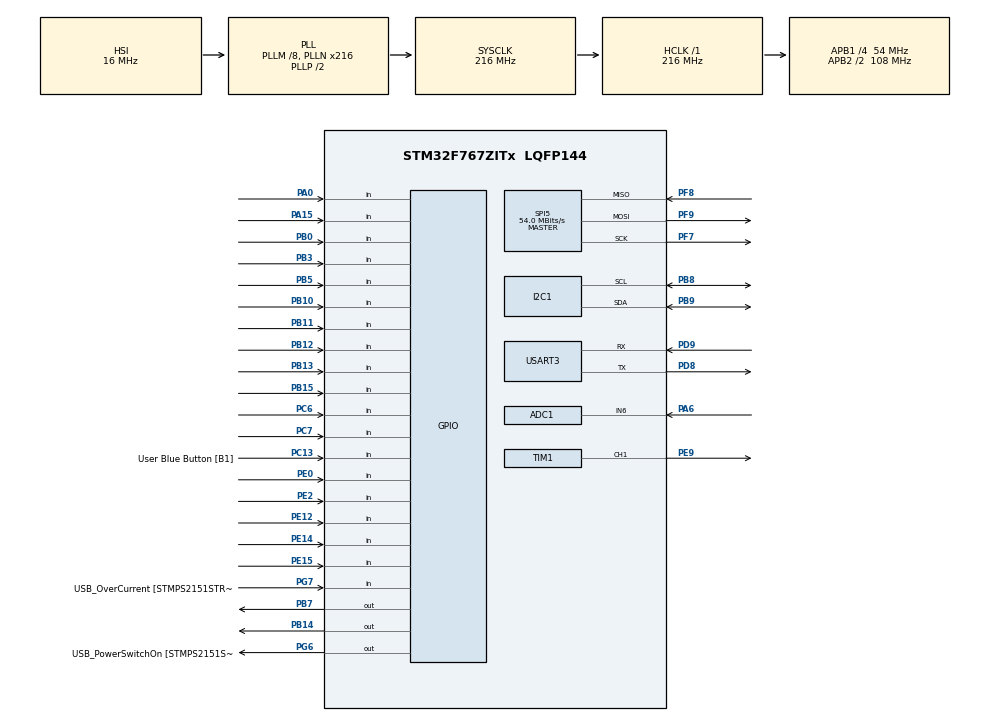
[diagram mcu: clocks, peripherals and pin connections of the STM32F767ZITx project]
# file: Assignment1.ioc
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ADC1.Channel-0\#ChannelRegularConversion=ADC_CHANNEL_6
ADC1.ClockPrescaler=ADC_CLOCK_SYNC_PCLK_DIV4
ADC1.ExternalTrigConv=ADC_EXTERNALTRIGCONV_T2_TRGO
ADC1.NbrOfConversionFlag=1
ADC1.Rank-0\#ChannelRegularConversion=1
ADC1.SamplingTime-0\#ChannelRegularConversion=ADC_SAMPLETIME_3CYCLES
ADC1.master=1
CORTEX_M7.ART_ACCLERATOR_ENABLE=1
CORTEX_M7.CPU_DCache=Enabled
CORTEX_M7.CPU_ICache=Enabled
CORTEX_M7.PREFETCH_ENABLE=1
Dma.ADC1.0.Direction=DMA_PERIPH_TO_MEMORY
Dma.ADC1.0.FIFOMode=DMA_FIFOMODE_ENABLE
Dma.ADC1.0.FIFOThreshold=DMA_FIFO_THRESHOLD_FULL
Dma.ADC1.0.Instance=DMA2_Stream0
Dma.ADC1.0.MemBurst=DMA_MBURST_SINGLE
Dma.ADC1.0.MemDataAlignment=DMA_MDATAALIGN_WORD
Dma.ADC1.0.MemInc=DMA_MINC_ENABLE
Dma.ADC1.0.Mode=DMA_CIRCULAR
Dma.ADC1.0.PeriphBurst=DMA_PBURST_SINGLE
Dma.ADC1.0.PeriphDataAlignment=DMA_PDATAALIGN_WORD
Dma.ADC1.0.PeriphInc=DMA_PINC_DISABLE
Dma.ADC1.0.Priority=DMA_PRIORITY_LOW
Dma.Request0=ADC1
Dma.Request1=TIM1_CH1
Dma.TIM1_CH1.1.Direction=DMA_MEMORY_TO_PERIPH
Dma.TIM1_CH1.1.FIFOMode=DMA_FIFOMODE_DISABLE
Dma.TIM1_CH1.1.Instance=DMA2_Stream1
Dma.TIM1_CH1.1.MemDataAlignment=DMA_MDATAALIGN_HALFWORD
Dma.TIM1_CH1.1.MemInc=DMA_MINC_ENABLE
Dma.TIM1_CH1.1.Mode=DMA_CIRCULAR
Dma.TIM1_CH1.1.PeriphDataAlignment=DMA_PDATAALIGN_HALFWORD
Dma.TIM1_CH1.1.PeriphInc=DMA_PINC_DISABLE
Dma.TIM1_CH1.1.Priority=DMA_PRIORITY_LOW
I2C1.Timing=0x20404768
Mcu.Family=STM32F7
Mcu.Name=STM32F767ZITx
Mcu.Package=LQFP144
NVIC.ADC_IRQn=true\:3\:0\:true\:false\:true\:true\:true
NVIC.DMA2_Stream0_IRQn=true\:0\:0\:false\:false\:true\:false\:true
NVIC.DMA2_Stream1_IRQn=true\:0\:0\:false\:false\:true\:false\:true
NVIC.PriorityGroup=NVIC_PRIORITYGROUP_4
NVIC.TIM3_IRQn=true\:1\:0\:true\:false\:true\:true\:true
PA0/WKUP.Signal=GPIO_Input
PA15.Signal=GPIO_Input
PA6.Signal=ADCx_IN6
PB0.Signal=GPIO_Input
PB10.Signal=GPIO_Input
PB11.Signal=GPIO_Input
PB12.Signal=GPIO_Input
PB13.Signal=GPIO_Input
PB14.Signal=GPIO_Output
PB15.Signal=GPIO_Input
PB3.Signal=GPIO_Input
PB5.Signal=GPIO_Input
PB7.Signal=GPIO_Output
PB8.Mode=I2C
PB8.Signal=I2C1_SCL
PB9.Mode=I2C
PB9.Signal=I2C1_SDA
PC13.GPIO_Label=User Blue Button [B1]
PC13.Signal=GPIO_Input
PC14/OSC32_IN.Mode=LSE-External-Oscillator
PC14/OSC32_IN.Signal=RCC_OSC32_IN
PC15/OSC32_OUT.Mode=LSE-External-Oscillator
PC15/OSC32_OUT.Signal=RCC_OSC32_OUT
PC6.Signal=GPIO_Input
PC7.Signal=GPIO_Input
PD8.Mode=Asynchronous
PD8.Signal=USART3_TX
PD9.Mode=Asynchronous
PD9.Signal=USART3_RX
PE0.Signal=GPIO_Input
PE12.Signal=GPIO_Input
PE14.Signal=GPIO_Input
PE15.Signal=GPIO_Input
PE2.Signal=GPIO_Input
PE9.Signal=S_TIM1_CH1
PF7.Mode=Full_Duplex_Master
PF7.Signal=SPI5_SCK
PF8.Mode=Full_Duplex_Master
PF8.Signal=SPI5_MISO
PF9.Mode=Full_Duplex_Master
PF9.Signal=SPI5_MOSI
PG6.GPIO_Label=USB_PowerSwitchOn [STMPS2151STR_EN]
PG6.Signal=GPIO_Output
PG7.GPIO_Label=USB_OverCurrent [STMPS2151STR_FAULT]
PG7.Signal=GPIO_Input
PH0/OSC_IN.Mode=HSE-External-Clock-Source
PH0/OSC_IN.Signal=RCC_OSC_IN
PH1/OSC_OUT.Mode=HSE-External-Clock-Source
PH1/OSC_OUT.Signal=RCC_OSC_OUT
ProjectManager.HeapSize=0x200
ProjectManager.StackSize=0x400
ProjectManager.TargetToolchain=MDK-ARM V5
RCC.AHBFreq_Value=216000000
RCC.APB1CLKDivider=RCC_HCLK_DIV4
RCC.APB1Freq_Value=54000000
RCC.APB1TimFreq_Value=108000000
RCC.APB2CLKDivider=RCC_HCLK_DIV2
RCC.APB2Freq_Value=108000000
RCC.APB2TimFreq_Value=216000000
RCC.CortexFreq_Value=216000000
RCC.HCLKFreq_Value=216000000
RCC.HSE_VALUE=25000000
RCC.HSI_VALUE=16000000
RCC.PLLM=8
RCC.PLLN=216
RCC.SYSCLKFreq_VALUE=216000000
RCC.SYSCLKSource=RCC_SYSCLKSOURCE_PLLCLK
RCC.USBFreq_Value=216000000
RCC.VCOOutputFreq_Value=432000000
SH.ADCx_IN6.0=ADC1_IN6,IN6
SH.S_TIM1_CH1.0=TIM1_CH1,PWM Generation1 CH1
SPI5.CalculateBaudRate=54.0 MBits/s
SPI5.DataSize=SPI_DATASIZE_8BIT
SPI5.Direction=SPI_DIRECTION_2LINES
SPI5.Mode=SPI_MODE_MASTER
SPI5.NSSPMode=SPI_NSS_PULSE_DISABLE
SPI5.VirtualType=VM_MASTER
TIM1.Channel-PWM\ Generation1\ CH1=TIM_CHANNEL_1
TIM1.Period=90-1
TIM1.Prescaler=3-1
TIM2.Period=10000-1
TIM2.Prescaler=10800-1
TIM2.TIM_MasterOutputTrigger=TIM_TRGO_UPDATE
TIM3.Period=1000-1
TIM3.Prescaler=216-1
USART3.VirtualMode-Asynchronous=VM_ASYNC
VP_RNG_VS_RNG.Mode=RNG_Activate
VP_TIM2_VS_ClockSourceINT.Mode=Internal
VP_TIM3_VS_ClockSourceINT.Mode=Internal
board=custom

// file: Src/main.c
/* USER CODE BEGIN Header */
/**
  ******************************************************************************
  * @file           : main.c
  * @brief          : Main program body
  ******************************************************************************
  * @attention
  *
  * <h2><center>&copy; Copyright (c) 2020 STMicroelectronics.
  * All rights reserved.</center></h2>
  *
  * This software component is licensed by ST under BSD 3-Clause license,
  * the "License"; You may not use this file except in compliance with the
  * License. You may obtain a copy of the License at:
  *                        opensource.org/licenses/BSD-3-Clause
  *
  ******************************************************************************
  */
/* USER CODE END Header */

#include "main.h"
#include "adc.h"
#include "dma.h"
#include "i2c.h"
#include "rng.h"
#include "spi.h"
#include "tim.h"
#include "usart.h"
#include "gpio.h"

/* USER CODE BEGIN Includes */
//#include "ws2812b.h"
#include "stdio.h"
#include "string.h"

/* USER CODE END Includes */

/* USER CODE BEGIN PV */
extern DMA_HandleTypeDef hdma_adc1;
int j;
uint32_t millisec;
int point=0;
int pressed=0;

int color_r, color_g, color_b,r1,g1,b1;

uint32_t countTimePress;
int score=0;
int checkTimeOut=0;

int r=80,g=40,b=70;
uint8_t red,green,blue;
/* USER CODE END PV */

void SystemClock_Config(void);
/* USER CODE BEGIN PFP */
void colorBlindGame(void);
void colorBlindLevel0(void);
void colorBlindLevel1(void);
void colorBlindLevel2(void);

uint8_t randomNumber(uint8_t lower, uint8_t upper);
void randomColor(void);
void setRandomColor(uint8_t index);
void colorsMatching() ;
void checkSW();
void closeLED();
void setCloseLED(uint8_t index);
void displayTime (uint32_t num );
void delay(uint32_t time);

uint16_t Mode1setAllColors();
/* USER CODE END PFP */

int main(void)
{

  /* Enable I-Cache---------------------------------------------------------*/
  SCB_EnableICache();

  /* Enable D-Cache---------------------------------------------------------*/
  SCB_EnableDCache();

  /* MCU Configuration--------------------------------------------------------*/

  /* Reset of all peripherals, Initializes the Flash interface and the Systick. */
  HAL_Init();

  /* Configure the system clock */
  SystemClock_Config();

  /* Initialize all configured peripherals */
  MX_GPIO_Init();
  MX_DMA_Init();
  MX_ADC1_Init();
  MX_TIM1_Init();
  MX_TIM2_Init();
  MX_USART3_UART_Init();
  MX_I2C1_Init();
  MX_RNG_Init();
  MX_SPI5_Init();
  MX_TIM3_Init();
  /* USER CODE BEGIN 2 */
	led_init();
	HAL_TIM_Base_Start(&htim2);
	HAL_ADC_Start_IT(&hadc1);
	HAL_TIM_Base_Start_IT(&htim3);

  /* USER CODE END 2 */

  /* Infinite loop */
  while (1)
  {

    /* USER CODE BEGIN 3 */

		Mode1setAllColors();

		/*colorBlindGame();
			if(pressed==0)
			{
				break;
			}*/
		//colorsMatching();
		/*if(checkTimeOut==1)
			{
				break;
			}*/
		//displayTime(millisec);
		}

	char tmp[500];
	sprintf(tmp, "\n\n\rD E A D\n\rYour score : %d\n\rHigh score : XX", point);
	while(__HAL_UART_GET_FLAG(&huart3, UART_FLAG_TC)==RESET){}
	HAL_UART_Transmit(&huart3, (uint8_t *) tmp, strlen(tmp), 100);

	led_set_color_all(0, 0, 0);

	led_display();
  /* USER CODE END 3 */
}

void SystemClock_Config(void)
{
  RCC_OscInitTypeDef RCC_OscInitStruct = {0};
  RCC_ClkInitTypeDef RCC_ClkInitStruct = {0};
  RCC_PeriphCLKInitTypeDef PeriphClkInitStruct = {0};

  /** Configure LSE Drive Capability
  */
  HAL_PWR_EnableBkUpAccess();
  /** Configure the main internal regulator output voltage
  */
  __HAL_RCC_PWR_CLK_ENABLE();
  __HAL_PWR_VOLTAGESCALING_CONFIG(PWR_REGULATOR_VOLTAGE_SCALE1);
  /** Initializes the CPU, AHB and APB busses clocks
  */
  RCC_OscInitStruct.OscillatorType = RCC_OSCILLATORTYPE_HSI;
  RCC_OscInitStruct.HSIState = RCC_HSI_ON;
  RCC_OscInitStruct.HSICalibrationValue = RCC_HSICALIBRATION_DEFAULT;
  RCC_OscInitStruct.PLL.PLLState = RCC_PLL_ON;
  RCC_OscInitStruct.PLL.PLLSource = RCC_PLLSOURCE_HSI;
  RCC_OscInitStruct.PLL.PLLM = 8;
  RCC_OscInitStruct.PLL.PLLN = 216;
  RCC_OscInitStruct.PLL.PLLP = RCC_PLLP_DIV2;
  RCC_OscInitStruct.PLL.PLLQ = 2;
  if (HAL_RCC_OscConfig(&RCC_OscInitStruct) != HAL_OK)
  {
    Error_Handler();
  }
  /** Activate the Over-Drive mode
  */
  if (HAL_PWREx_EnableOverDrive() != HAL_OK)
  {
    Error_Handler();
  }
  /** Initializes the CPU, AHB and APB busses clocks
  */
  RCC_ClkInitStruct.ClockType = RCC_CLOCKTYPE_HCLK|RCC_CLOCKTYPE_SYSCLK
                              |RCC_CLOCKTYPE_PCLK1|RCC_CLOCKTYPE_PCLK2;
  RCC_ClkInitStruct.SYSCLKSource = RCC_SYSCLKSOURCE_PLLCLK;
  RCC_ClkInitStruct.AHBCLKDivider = RCC_SYSCLK_DIV1;
  RCC_ClkInitStruct.APB1CLKDivider = RCC_HCLK_DIV4;
  RCC_ClkInitStruct.APB2CLKDivider = RCC_HCLK_DIV2;

  if (HAL_RCC_ClockConfig(&RCC_ClkInitStruct, FLASH_LATENCY_7) != HAL_OK)
  {
    Error_Handler();
  }
  PeriphClkInitStruct.PeriphClockSelection = RCC_PERIPHCLK_USART3|RCC_PERIPHCLK_I2C1
                              |RCC_PERIPHCLK_CLK48;
  PeriphClkInitStruct.Usart3ClockSelection = RCC_USART3CLKSOURCE_PCLK1;
  PeriphClkInitStruct.I2c1ClockSelection = RCC_I2C1CLKSOURCE_PCLK1;
  PeriphClkInitStruct.Clk48ClockSelection = RCC_CLK48SOURCE_PLL;
  if (HAL_RCCEx_PeriphCLKConfig(&PeriphClkInitStruct) != HAL_OK)
  {
    Error_Handler();
  }
}

/* USER CODE BEGIN 4 */
void colorBlindLevel0(void) {
	uint16_t i;
	color_r = (HAL_RNG_GetRandomNumber(&hrng))%256;
	color_g = (HAL_RNG_GetRandomNumber(&hrng))%256;
	color_b = (HAL_RNG_GetRandomNumber(&hrng))%256;

	led_set_color(5,color_r, color_g, color_b);
	led_set_color(6,color_r, color_g, color_b);
	led_set_color(9,color_r, color_g, color_b);
	led_set_color(10,color_r, color_g, color_b);
		//if (flag_stop) break;

	j = (HAL_RNG_GetRandomNumber(&hrng))%4;
	if(j==0) j=5;
	else if(j==1) j=6;
	else if(j==2) j=9;
	else if(j==3) j=10;

	r1 = (HAL_RNG_GetRandomNumber(&hrng))%256;
	g1 = (HAL_RNG_GetRandomNumber(&hrng))%256;
	b1 = (HAL_RNG_GetRandomNumber(&hrng))%256;

	while((r1==color_r) && (g1==color_g) && (b1==color_b))
	{
		r1 = (HAL_RNG_GetRandomNumber(&hrng))%256;
		g1 = (HAL_RNG_GetRandomNumber(&hrng))%256;
		b1 = (HAL_RNG_GetRandomNumber(&hrng))%256;
	}
	led_set_color(j, r1, g1, b1);
	led_display();
}

void colorBlindLevel1(void) {
	uint16_t i;
	color_r = (HAL_RNG_GetRandomNumber(&hrng))%256;
	color_g = (HAL_RNG_GetRandomNumber(&hrng))%256;
	color_b = (HAL_RNG_GetRandomNumber(&hrng))%256;

	led_set_color_all(color_r, color_g, color_b);
		//if (flag_stop) break;

	j = (HAL_RNG_GetRandomNumber(&hrng))%16;

	r1 = (HAL_RNG_GetRandomNumber(&hrng))%256;
	g1 = (HAL_RNG_GetRandomNumber(&hrng))%256;
	b1 = (HAL_RNG_GetRandomNumber(&hrng))%256;

	while((r1==color_r) && (g1==color_g) && (b1==color_b))
	{
		r1 = (HAL_RNG_GetRandomNumber(&hrng))%256;
		g1 = (HAL_RNG_GetRandomNumber(&hrng))%256;
		b1 = (HAL_RNG_GetRandomNumber(&hrng))%256;
	}
	led_set_color(j, r1, g1, b1);
	led_display();
}

void colorBlindLevel2(void)
{
	uint16_t i;
	color_r = (HAL_RNG_GetRandomNumber(&hrng))%256;
	color_g = (HAL_RNG_GetRandomNumber(&hrng))%256;
	color_b = (HAL_RNG_GetRandomNumber(&hrng))%256;

	led_set_color_all(color_r, color_g, color_b);
		//wsled.led_set_color(i, 1, 23, 12);
		//if (flag_stop) break;

	int rand=(HAL_RNG_GetRandomNumber(&hrng))%2;
	if(rand==0)
	{
		r1=(color_r+40);
		if(r1>255) r1=255;
	}
	else
	{
		r1=(color_r-40);
		if(r1<0) r1=0;
	}
	rand=(HAL_RNG_GetRandomNumber(&hrng))%2;
	if(rand==0)
	{
		g1=(color_g+40);
		if(g1>255) g1=255;
	}
	else
	{
		g1=(color_g-40);
		if(g1<0) g1=0;
	}
	rand=(HAL_RNG_GetRandomNumber(&hrng))%2;
	if(rand==0)
	{
		b1=(color_b+40);
		if(b1>255) b1=255;
	}
	else
	{
		b1=(color_b-40);
		if(b1<0) b1=0;
	}

	j = (HAL_RNG_GetRandomNumber(&hrng))%16;

	led_set_color(j, r1, g1, b1);
	//led_set_color(i, 91, 113, 102);
	led_display();
}

void colorBlindGame(void)
{
	/*for(uint8_t i=0;i<10;i++)
	{
		randomColor();
	}*/

	pressed=0;
	if(point<=4) colorBlindLevel0();
	else if(point<8) colorBlindLevel1();
	else colorBlindLevel2();

	char temp[100];
	sprintf(temp, "\n\n\rr = %d, g = %d, b = %d\n\rr1 = %d, g1 = %d, b1 = %d\n\rj = %d", color_r,color_g,color_b,r1,g1,b1,j);
	while(__HAL_UART_GET_FLAG(&huart3, UART_FLAG_TC)==RESET){}
	HAL_UART_Transmit(&huart3, (uint8_t *) temp, strlen(temp), 100);

	millisec=0;
	while(millisec<10000)
	{
		if(j==0)
		{
			if(HAL_GPIO_ReadPin(GPIOB,GPIO_PIN_3)==1)
			{
				point++;
				pressed=1;
				/*char tmp[100];
				sprintf(tmp, "\n\rpoint = %d", point);
				while(__HAL_UART_GET_FLAG(&huart3, UART_FLAG_TC)==RESET){}
				HAL_UART_Transmit(&huart3, (uint8_t *) tmp, strlen(tmp), 100);
				HAL_Delay(100);*/

				break;
			}
			else if(
			HAL_GPIO_ReadPin(GPIOB,GPIO_PIN_5)==1 ||
			HAL_GPIO_ReadPin(GPIOC,GPIO_PIN_7)==1 ||
			HAL_GPIO_ReadPin(GPIOA,GPIO_PIN_15)==1 ||
			HAL_GPIO_ReadPin(GPIOB,GPIO_PIN_12)==1 ||
			HAL_GPIO_ReadPin(GPIOB,GPIO_PIN_13)==1 ||
			HAL_GPIO_ReadPin(GPIOB,GPIO_PIN_15)==1 ||
			HAL_GPIO_ReadPin(GPIOC,GPIO_PIN_6)==1 ||
			HAL_GPIO_ReadPin(GPIOB,GPIO_PIN_11)==1 ||
			HAL_GPIO_ReadPin(GPIOB,GPIO_PIN_10)==1 ||
			HAL_GPIO_ReadPin(GPIOE,GPIO_PIN_15)==1 ||
			HAL_GPIO_ReadPin(GPIOE,GPIO_PIN_14)==1 ||
			HAL_GPIO_ReadPin(GPIOE,GPIO_PIN_0)==1 ||
			HAL_GPIO_ReadPin(GPIOB,GPIO_PIN_0)==1 ||
			HAL_GPIO_ReadPin(GPIOA,GPIO_PIN_0)==1 ||
			HAL_GPIO_ReadPin(GPIOE,GPIO_PIN_2)==1)
			{
				millisec+=2000;
				HAL_Delay(300);
			}
		}
		else if(j==1)
		{
			if(HAL_GPIO_ReadPin(GPIOB,GPIO_PIN_5)==1)
			{
				point++;
				pressed=1;
				/*char tmp[100];
				sprintf(tmp, "\n\rpoint = %d", point);
				while(__HAL_UART_GET_FLAG(&huart3, UART_FLAG_TC)==RESET){}
				HAL_UART_Transmit(&huart3, (uint8_t *) tmp, strlen(tmp), 100);
				HAL_Delay(200);*/

				break;
			}
			else if(
			HAL_GPIO_ReadPin(GPIOB,GPIO_PIN_3)==1 ||
			HAL_GPIO_ReadPin(GPIOC,GPIO_PIN_7)==1 ||
			HAL_GPIO_ReadPin(GPIOA,GPIO_PIN_15)==1 ||
			HAL_GPIO_ReadPin(GPIOB,GPIO_PIN_12)==1 ||
			HAL_GPIO_ReadPin(GPIOB,GPIO_PIN_13)==1 ||
			HAL_GPIO_ReadPin(GPIOB,GPIO_PIN_15)==1 ||
			HAL_GPIO_ReadPin(GPIOC,GPIO_PIN_6)==1 ||
			HAL_GPIO_ReadPin(GPIOB,GPIO_PIN_11)==1 ||
			HAL_GPIO_ReadPin(GPIOB,GPIO_PIN_10)==1 ||
			HAL_GPIO_ReadPin(GPIOE,GPIO_PIN_15)==1 ||
			HAL_GPIO_ReadPin(GPIOE,GPIO_PIN_14)==1 ||
			HAL_GPIO_ReadPin(GPIOE,GPIO_PIN_0)==1 ||
			HAL_GPIO_ReadPin(GPIOB,GPIO_PIN_0)==1 ||
			HAL_GPIO_ReadPin(GPIOA,GPIO_PIN_0)==1 ||
			HAL_GPIO_ReadPin(GPIOE,GPIO_PIN_2)==1)
			{
				millisec+=2000;
				HAL_Delay(300);
			}
		}
		else if(j==2)
		{
			if(HAL_GPIO_ReadPin(GPIOC,GPIO_PIN_7)==1)
			{
				point++;
				pressed=1;
				/*char tmp[100];
				sprintf(tmp, "\n\rpoint = %d", point);
				while(__HAL_UART_GET_FLAG(&huart3, UART_FLAG_TC)==RESET){}
				HAL_UART_Transmit(&huart3, (uint8_t *) tmp, strlen(tmp), 100);
				HAL_Delay(200);*/

				break;
			}
			else if(
			HAL_GPIO_ReadPin(GPIOB,GPIO_PIN_3)==1 ||
			HAL_GPIO_ReadPin(GPIOB,GPIO_PIN_5)==1 ||
			HAL_GPIO_ReadPin(GPIOA,GPIO_PIN_15)==1 ||
			HAL_GPIO_ReadPin(GPIOB,GPIO_PIN_12)==1 ||
			HAL_GPIO_ReadPin(GPIOB,GPIO_PIN_13)==1 ||
			HAL_GPIO_ReadPin(GPIOB,GPIO_PIN_15)==1 ||
			HAL_GPIO_ReadPin(GPIOC,GPIO_PIN_6)==1 ||
			HAL_GPIO_ReadPin(GPIOB,GPIO_PIN_11)==1 ||
			HAL_GPIO_ReadPin(GPIOB,GPIO_PIN_10)==1 ||
			HAL_GPIO_ReadPin(GPIOE,GPIO_PIN_15)==1 ||
			HAL_GPIO_ReadPin(GPIOE,GPIO_PIN_14)==1 ||
			HAL_GPIO_ReadPin(GPIOE,GPIO_PIN_0)==1 ||
			HAL_GPIO_ReadPin(GPIOB,GPIO_PIN_0)==1 ||
			HAL_GPIO_ReadPin(GPIOA,GPIO_PIN_0)==1 ||
			HAL_GPIO_ReadPin(GPIOE,GPIO_PIN_2)==1)
			{
				millisec+=2000;
				HAL_Delay(300);
			}
		}
		else if(j==3)
		{
			if(HAL_GPIO_ReadPin(GPIOA,GPIO_PIN_15)==1)
			{
				point++;
				pressed=1;
				/*char tmp[100];
				sprintf(tmp, "\n\rpoint = %d", point);
				while(__HAL_UART_GET_FLAG(&huart3, UART_FLAG_TC)==RESET){}
				HAL_UART_Transmit(&huart3, (uint8_t *) tmp, strlen(tmp), 100);
				HAL_Delay(200);*/

				break;
			}
			else if(
			HAL_GPIO_ReadPin(GPIOB,GPIO_PIN_3)==1 ||
			HAL_GPIO_ReadPin(GPIOB,GPIO_PIN_5)==1 ||
			HAL_GPIO_ReadPin(GPIOC,GPIO_PIN_7)==1 ||
			HAL_GPIO_ReadPin(GPIOB,GPIO_PIN_12)==1 ||
			HAL_GPIO_ReadPin(GPIOB,GPIO_PIN_13)==1 ||
			HAL_GPIO_ReadPin(GPIOB,GPIO_PIN_15)==1 ||
			HAL_GPIO_ReadPin(GPIOC,GPIO_PIN_6)==1 ||
			HAL_GPIO_ReadPin(GPIOB,GPIO_PIN_11)==1 ||
			HAL_GPIO_ReadPin(GPIOB,GPIO_PIN_10)==1 ||
			HAL_GPIO_ReadPin(GPIOE,GPIO_PIN_15)==1 ||
			HAL_GPIO_ReadPin(GPIOE,GPIO_PIN_14)==1 ||
			HAL_GPIO_ReadPin(GPIOE,GPIO_PIN_0)==1 ||
			HAL_GPIO_ReadPin(GPIOB,GPIO_PIN_0)==1 ||
			HAL_GPIO_ReadPin(GPIOA,GPIO_PIN_0)==1 ||
			HAL_GPIO_ReadPin(GPIOE,GPIO_PIN_2)==1)
			{
				millisec+=2000;
				HAL_Delay(300);
			}
		}
		else if(j==4)
		{
			if(HAL_GPIO_ReadPin(GPIOB,GPIO_PIN_12)==1)
			{
				point++;
				pressed=1;

				/*char tmp[100];
				sprintf(tmp, "\n\rpoint = %d", point);
				while(__HAL_UART_GET_FLAG(&huart3, UART_FLAG_TC)==RESET){}
				HAL_UART_Transmit(&huart3, (uint8_t *) tmp, strlen(tmp), 100);
				HAL_Delay(200);*/

				break;
			}
			else if(
			HAL_GPIO_ReadPin(GPIOB,GPIO_PIN_3)==1 ||
			HAL_GPIO_ReadPin(GPIOB,GPIO_PIN_5)==1 ||
			HAL_GPIO_ReadPin(GPIOC,GPIO_PIN_7)==1 ||
			HAL_GPIO_ReadPin(GPIOA,GPIO_PIN_15)==1 ||
			HAL_GPIO_ReadPin(GPIOB,GPIO_PIN_12)==1 ||
			HAL_GPIO_ReadPin(GPIOB,GPIO_PIN_13)==1 ||
			HAL_GPIO_ReadPin(GPIOB,GPIO_PIN_15)==1 ||
			HAL_GPIO_ReadPin(GPIOC,GPIO_PIN_6)==1 ||
			HAL_GPIO_ReadPin(GPIOB,GPIO_PIN_11)==1 ||
			HAL_GPIO_ReadPin(GPIOB,GPIO_PIN_10)==1 ||
			HAL_GPIO_ReadPin(GPIOE,GPIO_PIN_15)==1 ||
			HAL_GPIO_ReadPin(GPIOE,GPIO_PIN_14)==1 ||
			HAL_GPIO_ReadPin(GPIOE,GPIO_PIN_0)==1 ||
			HAL_GPIO_ReadPin(GPIOB,GPIO_PIN_0)==1 ||
			HAL_GPIO_ReadPin(GPIOA,GPIO_PIN_0)==1 ||
			HAL_GPIO_ReadPin(GPIOE,GPIO_PIN_2)==1)
			{
				millisec+=2000;
				HAL_Delay(300);
			}
		}
		else if(j==5)
		{
			if(HAL_GPIO_ReadPin(GPIOB,GPIO_PIN_13)==1)
			{
				point++;
				pressed=1;

				/*char tmp[100];
				sprintf(tmp, "\n\rpoint = %d", point);
				while(__HAL_UART_GET_FLAG(&huart3, UART_FLAG_TC)==RESET){}
				HAL_UART_Transmit(&huart3, (uint8_t *) tmp, strlen(tmp), 100);
				HAL_Delay(200);*/

				break;
			}
			else if(
			HAL_GPIO_ReadPin(GPIOB,GPIO_PIN_3)==1 ||
			HAL_GPIO_ReadPin(GPIOB,GPIO_PIN_5)==1 ||
			HAL_GPIO_ReadPin(GPIOC,GPIO_PIN_7)==1 ||
			HAL_GPIO_ReadPin(GPIOA,GPIO_PIN_15)==1 ||
			HAL_GPIO_ReadPin(GPIOB,GPIO_PIN_12)==1 ||
			HAL_GPIO_ReadPin(GPIOB,GPIO_PIN_15)==1 ||
			HAL_GPIO_ReadPin(GPIOC,GPIO_PIN_6)==1 ||
			HAL_GPIO_ReadPin(GPIOB,GPIO_PIN_11)==1 ||
			HAL_GPIO_ReadPin(GPIOB,GPIO_PIN_10)==1 ||
			HAL_GPIO_ReadPin(GPIOE,GPIO_PIN_15)==1 ||
			HAL_GPIO_ReadPin(GPIOE,GPIO_PIN_14)==1 ||
			HAL_GPIO_ReadPin(GPIOE,GPIO_PIN_0)==1 ||
			HAL_GPIO_ReadPin(GPIOB,GPIO_PIN_0)==1 ||
			HAL_GPIO_ReadPin(GPIOA,GPIO_PIN_0)==1 ||
			HAL_GPIO_ReadPin(GPIOE,GPIO_PIN_2)==1)
			{
				millisec+=2000;
				HAL_Delay(300);
			}
		}
		else if(j==6)
		{
			if(HAL_GPIO_ReadPin(GPIOB,GPIO_PIN_15)==1)
			{
				point++;
				pressed=1;

				/*char tmp[100];
				sprintf(tmp, "\n\rpoint = %d", point);
				while(__HAL_UART_GET_FLAG(&huart3, UART_FLAG_TC)==RESET){}
				HAL_UART_Transmit(&huart3, (uint8_t *) tmp, strlen(tmp), 100);
				HAL_Delay(200);*/

				break;
			}
			else if(
			HAL_GPIO_ReadPin(GPIOB,GPIO_PIN_3)==1 ||
			HAL_GPIO_ReadPin(GPIOB,GPIO_PIN_5)==1 ||
			HAL_GPIO_ReadPin(GPIOC,GPIO_PIN_7)==1 ||
			HAL_GPIO_ReadPin(GPIOA,GPIO_PIN_15)==1 ||
			HAL_GPIO_ReadPin(GPIOB,GPIO_PIN_12)==1 ||
			HAL_GPIO_ReadPin(GPIOB,GPIO_PIN_13)==1 ||
			HAL_GPIO_ReadPin(GPIOC,GPIO_PIN_6)==1 ||
			HAL_GPIO_ReadPin(GPIOB,GPIO_PIN_11)==1 ||
			HAL_GPIO_ReadPin(GPIOB,GPIO_PIN_10)==1 ||
			HAL_GPIO_ReadPin(GPIOE,GPIO_PIN_15)==1 ||
			HAL_GPIO_ReadPin(GPIOE,GPIO_PIN_14)==1 ||
			HAL_GPIO_ReadPin(GPIOE,GPIO_PIN_0)==1 ||
			HAL_GPIO_ReadPin(GPIOB,GPIO_PIN_0)==1 ||
			HAL_GPIO_ReadPin(GPIOA,GPIO_PIN_0)==1 ||
			HAL_GPIO_ReadPin(GPIOE,GPIO_PIN_2)==1)
			{
				millisec+=2000;
				HAL_Delay(300);
			}
		}
		else if(j==7)
		{
			if(HAL_GPIO_ReadPin(GPIOC,GPIO_PIN_6)==1)
			{
				point++;
				pressed=1;

				/*char tmp[100];
				sprintf(tmp, "\n\rpoint = %d", point);
				while(__HAL_UART_GET_FLAG(&huart3, UART_FLAG_TC)==RESET){}
				HAL_UART_Transmit(&huart3, (uint8_t *) tmp, strlen(tmp), 100);
				HAL_Delay(200);*/

				break;
			}
			else if(
			HAL_GPIO_ReadPin(GPIOB,GPIO_PIN_3)==1 ||
			HAL_GPIO_ReadPin(GPIOB,GPIO_PIN_5)==1 ||
			HAL_GPIO_ReadPin(GPIOC,GPIO_PIN_7)==1 ||
			HAL_GPIO_ReadPin(GPIOA,GPIO_PIN_15)==1 ||
			HAL_GPIO_ReadPin(GPIOB,GPIO_PIN_12)==1 ||
			HAL_GPIO_ReadPin(GPIOB,GPIO_PIN_13)==1 ||
			HAL_GPIO_ReadPin(GPIOB,GPIO_PIN_15)==1 ||
			HAL_GPIO_ReadPin(GPIOB,GPIO_PIN_11)==1 ||
			HAL_GPIO_ReadPin(GPIOB,GPIO_PIN_10)==1 ||
			HAL_GPIO_ReadPin(GPIOE,GPIO_PIN_15)==1 ||
			HAL_GPIO_ReadPin(GPIOE,GPIO_PIN_14)==1 ||
			HAL_GPIO_ReadPin(GPIOE,GPIO_PIN_0)==1 ||
			HAL_GPIO_ReadPin(GPIOB,GPIO_PIN_0)==1 ||
			HAL_GPIO_ReadPin(GPIOA,GPIO_PIN_0)==1 ||
			HAL_GPIO_ReadPin(GPIOE,GPIO_PIN_2)==1)
			{
				millisec+=2000;
				HAL_Delay(300);
			}
		}
		else if(j==8)
		{
			if(HAL_GPIO_ReadPin(GPIOB,GPIO_PIN_11)==1)
			{
				point++;
				pressed=1;
				/*char tmp[100];
				sprintf(tmp, "\n\rpoint = %d", point);
				while(__HAL_UART_GET_FLAG(&huart3, UART_FLAG_TC)==RESET){}
				HAL_UART_Transmit(&huart3, (uint8_t *) tmp, strlen(tmp), 100);
				HAL_Delay(200);*/

				break;
			}
			else if(
			HAL_GPIO_ReadPin(GPIOB,GPIO_PIN_3)==1 ||
			HAL_GPIO_ReadPin(GPIOB,GPIO_PIN_5)==1 ||
			HAL_GPIO_ReadPin(GPIOC,GPIO_PIN_7)==1 ||
			HAL_GPIO_ReadPin(GPIOA,GPIO_PIN_15)==1 ||
			HAL_GPIO_ReadPin(GPIOB,GPIO_PIN_12)==1 ||
			HAL_GPIO_ReadPin(GPIOB,GPIO_PIN_13)==1 ||
			HAL_GPIO_ReadPin(GPIOB,GPIO_PIN_15)==1 ||
			HAL_GPIO_ReadPin(GPIOC,GPIO_PIN_6)==1 ||
			HAL_GPIO_ReadPin(GPIOB,GPIO_PIN_10)==1 ||
			HAL_GPIO_ReadPin(GPIOE,GPIO_PIN_15)==1 ||
			HAL_GPIO_ReadPin(GPIOE,GPIO_PIN_14)==1 ||
			HAL_GPIO_ReadPin(GPIOE,GPIO_PIN_0)==1 ||
			HAL_GPIO_ReadPin(GPIOB,GPIO_PIN_0)==1 ||
			HAL_GPIO_ReadPin(GPIOA,GPIO_PIN_0)==1 ||
			HAL_GPIO_ReadPin(GPIOE,GPIO_PIN_2)==1)
			{
				millisec+=2000;
				HAL_Delay(300);
			}
		}
		else if(j==9)
		{
			if(HAL_GPIO_ReadPin(GPIOB,GPIO_PIN_10)==1)
			{
				point++;
				pressed=1;
				/*char tmp[100];
				sprintf(tmp, "\n\rpoint = %d", point);
				while(__HAL_UART_GET_FLAG(&huart3, UART_FLAG_TC)==RESET){}
				HAL_UART_Transmit(&huart3, (uint8_t *) tmp, strlen(tmp), 100);
				HAL_Delay(200);*/

				break;
			}
			else if(
			HAL_GPIO_ReadPin(GPIOB,GPIO_PIN_3)==1 ||
			HAL_GPIO_ReadPin(GPIOB,GPIO_PIN_5)==1 ||
			HAL_GPIO_ReadPin(GPIOC,GPIO_PIN_7)==1 ||
			HAL_GPIO_ReadPin(GPIOA,GPIO_PIN_15)==1 ||
			HAL_GPIO_ReadPin(GPIOB,GPIO_PIN_12)==1 ||
			HAL_GPIO_ReadPin(GPIOB,GPIO_PIN_13)==1 ||
			HAL_GPIO_ReadPin(GPIOB,GPIO_PIN_15)==1 ||
			HAL_GPIO_ReadPin(GPIOC,GPIO_PIN_6)==1 ||
			HAL_GPIO_ReadPin(GPIOB,GPIO_PIN_11)==1 ||
			HAL_GPIO_ReadPin(GPIOE,GPIO_PIN_15)==1 ||
			HAL_GPIO_ReadPin(GPIOE,GPIO_PIN_14)==1 ||
			HAL_GPIO_ReadPin(GPIOE,GPIO_PIN_0)==1 ||
			HAL_GPIO_ReadPin(GPIOB,GPIO_PIN_0)==1 ||
			HAL_GPIO_ReadPin(GPIOA,GPIO_PIN_0)==1 ||
			HAL_GPIO_ReadPin(GPIOE,GPIO_PIN_2)==1)
			{
				millisec+=2000;
				HAL_Delay(300);
			}
		}
		else if(j==10)
		{
			if(HAL_GPIO_ReadPin(GPIOE,GPIO_PIN_15)==1)
			{
				point++;
				pressed=1;
				/*char tmp[100];
				sprintf(tmp, "\n\rpoint = %d", point);
				while(__HAL_UART_GET_FLAG(&huart3, UART_FLAG_TC)==RESET){}
				HAL_UART_Transmit(&huart3, (uint8_t *) tmp, strlen(tmp), 100);
				HAL_Delay(200);*/

				break;
			}
			else if(
			HAL_GPIO_ReadPin(GPIOB,GPIO_PIN_3)==1 ||
			HAL_GPIO_ReadPin(GPIOB,GPIO_PIN_5)==1 ||
			HAL_GPIO_ReadPin(GPIOC,GPIO_PIN_7)==1 ||
			HAL_GPIO_ReadPin(GPIOA,GPIO_PIN_15)==1 ||
			HAL_GPIO_ReadPin(GPIOB,GPIO_PIN_12)==1 ||
			HAL_GPIO_ReadPin(GPIOB,GPIO_PIN_13)==1 ||
			HAL_GPIO_ReadPin(GPIOB,GPIO_PIN_15)==1 ||
			HAL_GPIO_ReadPin(GPIOC,GPIO_PIN_6)==1 ||
			HAL_GPIO_ReadPin(GPIOB,GPIO_PIN_11)==1 ||
			HAL_GPIO_ReadPin(GPIOB,GPIO_PIN_10)==1 ||
			HAL_GPIO_ReadPin(GPIOE,GPIO_PIN_14)==1 ||
			HAL_GPIO_ReadPin(GPIOE,GPIO_PIN_0)==1 ||
			HAL_GPIO_ReadPin(GPIOB,GPIO_PIN_0)==1 ||
			HAL_GPIO_ReadPin(GPIOA,GPIO_PIN_0)==1 ||
			HAL_GPIO_ReadPin(GPIOE,GPIO_PIN_2)==1)
			{
				millisec+=2000;
				HAL_Delay(300);
			}
		}
		else if(j==11)
		{
			if(HAL_GPIO_ReadPin(GPIOE,GPIO_PIN_14)==1)
			{
				point++;
				pressed=1;
				/*char tmp[100];
				sprintf(tmp, "\n\rpoint = %d", point);
				while(__HAL_UART_GET_FLAG(&huart3, UART_FLAG_TC)==RESET){}
				HAL_UART_Transmit(&huart3, (uint8_t *) tmp, strlen(tmp), 100);
				HAL_Delay(200);*/

				break;
			}
			else if(
			HAL_GPIO_ReadPin(GPIOB,GPIO_PIN_3)==1 ||
			HAL_GPIO_ReadPin(GPIOB,GPIO_PIN_5)==1 ||
			HAL_GPIO_ReadPin(GPIOC,GPIO_PIN_7)==1 ||
			HAL_GPIO_ReadPin(GPIOA,GPIO_PIN_15)==1 ||
			HAL_GPIO_ReadPin(GPIOB,GPIO_PIN_12)==1 ||
			HAL_GPIO_ReadPin(GPIOB,GPIO_PIN_13)==1 ||
			HAL_GPIO_ReadPin(GPIOB,GPIO_PIN_15)==1 ||
			HAL_GPIO_ReadPin(GPIOC,GPIO_PIN_6)==1 ||
			HAL_GPIO_ReadPin(GPIOB,GPIO_PIN_11)==1 ||
			HAL_GPIO_ReadPin(GPIOB,GPIO_PIN_10)==1 ||
			HAL_GPIO_ReadPin(GPIOE,GPIO_PIN_15)==1 ||
			HAL_GPIO_ReadPin(GPIOE,GPIO_PIN_0)==1 ||
			HAL_GPIO_ReadPin(GPIOB,GPIO_PIN_0)==1 ||
			HAL_GPIO_ReadPin(GPIOA,GPIO_PIN_0)==1 ||
			HAL_GPIO_ReadPin(GPIOE,GPIO_PIN_2)==1)
			{
				millisec+=2000;
				HAL_Delay(300);
			}
		}
		else if(j==12)
		{
			if(HAL_GPIO_ReadPin(GPIOE,GPIO_PIN_0)==1)
			{
				point++;
				pressed=1;
				/*char tmp[100];
				sprintf(tmp, "\n\rpoint = %d", point);
				while(__HAL_UART_GET_FLAG(&huart3, UART_FLAG_TC)==RESET){}
				HAL_UART_Transmit(&huart3, (uint8_t *) tmp, strlen(tmp), 100);
				HAL_Delay(200);*/

				break;
			}
			else if(
			HAL_GPIO_ReadPin(GPIOB,GPIO_PIN_3)==1 ||
			HAL_GPIO_ReadPin(GPIOB,GPIO_PIN_5)==1 ||
			HAL_GPIO_ReadPin(GPIOC,GPIO_PIN_7)==1 ||
			HAL_GPIO_ReadPin(GPIOA,GPIO_PIN_15)==1 ||
			HAL_GPIO_ReadPin(GPIOB,GPIO_PIN_12)==1 ||
			HAL_GPIO_ReadPin(GPIOB,GPIO_PIN_13)==1 ||
			HAL_GPIO_ReadPin(GPIOB,GPIO_PIN_15)==1 ||
			HAL_GPIO_ReadPin(GPIOC,GPIO_PIN_6)==1 ||
			HAL_GPIO_ReadPin(GPIOB,GPIO_PIN_11)==1 ||
			HAL_GPIO_ReadPin(GPIOB,GPIO_PIN_10)==1 ||
			HAL_GPIO_ReadPin(GPIOE,GPIO_PIN_15)==1 ||
			HAL_GPIO_ReadPin(GPIOE,GPIO_PIN_14)==1 ||
			HAL_GPIO_ReadPin(GPIOB,GPIO_PIN_0)==1 ||
			HAL_GPIO_ReadPin(GPIOA,GPIO_PIN_0)==1 ||
			HAL_GPIO_ReadPin(GPIOE,GPIO_PIN_2)==1)
			{
				millisec+=2000;
				HAL_Delay(300);
			}
		}
		else if(j==13)
		{
			if(HAL_GPIO_ReadPin(GPIOB,GPIO_PIN_0)==1)
			{
				point++;
				pressed=1;
				/*char tmp[100];
				sprintf(tmp, "\n\rpoint = %d", point);
				while(__HAL_UART_GET_FLAG(&huart3, UART_FLAG_TC)==RESET){}
				HAL_UART_Transmit(&huart3, (uint8_t *) tmp, strlen(tmp), 100);
				HAL_Delay(200);*/

				break;
			}
			else if(
			HAL_GPIO_ReadPin(GPIOB,GPIO_PIN_3)==1 ||
			HAL_GPIO_ReadPin(GPIOB,GPIO_PIN_5)==1 ||
			HAL_GPIO_ReadPin(GPIOC,GPIO_PIN_7)==1 ||
			HAL_GPIO_ReadPin(GPIOA,GPIO_PIN_15)==1 ||
			HAL_GPIO_ReadPin(GPIOB,GPIO_PIN_12)==1 ||
			HAL_GPIO_ReadPin(GPIOB,GPIO_PIN_13)==1 ||
			HAL_GPIO_ReadPin(GPIOB,GPIO_PIN_15)==1 ||
			HAL_GPIO_ReadPin(GPIOC,GPIO_PIN_6)==1 ||
			HAL_GPIO_ReadPin(GPIOB,GPIO_PIN_11)==1 ||
			HAL_GPIO_ReadPin(GPIOB,GPIO_PIN_10)==1 ||
			HAL_GPIO_ReadPin(GPIOE,GPIO_PIN_15)==1 ||
			HAL_GPIO_ReadPin(GPIOE,GPIO_PIN_14)==1 ||
			HAL_GPIO_ReadPin(GPIOE,GPIO_PIN_0)==1 ||
			HAL_GPIO_ReadPin(GPIOA,GPIO_PIN_0)==1 ||
			HAL_GPIO_ReadPin(GPIOE,GPIO_PIN_2)==1)
			{
				millisec+=2000;
				HAL_Delay(300);
			}
		}
		else if(j==14)
		{
			if(HAL_GPIO_ReadPin(GPIOA,GPIO_PIN_0)==1)
			{
				point++;
				pressed=1;
				/*char tmp[100];
				sprintf(tmp, "\n\rpoint = %d", point);
				while(__HAL_UART_GET_FLAG(&huart3, UART_FLAG_TC)==RESET){}
				HAL_UART_Transmit(&huart3, (uint8_t *) tmp, strlen(tmp), 100);
				HAL_Delay(200);*/

				break;
			}
			else if(
			HAL_GPIO_ReadPin(GPIOB,GPIO_PIN_3)==1 ||
			HAL_GPIO_ReadPin(GPIOB,GPIO_PIN_5)==1 ||
			HAL_GPIO_ReadPin(GPIOC,GPIO_PIN_7)==1 ||
			HAL_GPIO_ReadPin(GPIOA,GPIO_PIN_15)==1 ||
			HAL_GPIO_ReadPin(GPIOB,GPIO_PIN_12)==1 ||
			HAL_GPIO_ReadPin(GPIOB,GPIO_PIN_13)==1 ||
			HAL_GPIO_ReadPin(GPIOB,GPIO_PIN_15)==1 ||
			HAL_GPIO_ReadPin(GPIOC,GPIO_PIN_6)==1 ||
			HAL_GPIO_ReadPin(GPIOB,GPIO_PIN_11)==1 ||
			HAL_GPIO_ReadPin(GPIOB,GPIO_PIN_10)==1 ||
			HAL_GPIO_ReadPin(GPIOE,GPIO_PIN_15)==1 ||
			HAL_GPIO_ReadPin(GPIOE,GPIO_PIN_14)==1 ||
			HAL_GPIO_ReadPin(GPIOE,GPIO_PIN_0)==1 ||
			HAL_GPIO_ReadPin(GPIOB,GPIO_PIN_0)==1 ||
			HAL_GPIO_ReadPin(GPIOE,GPIO_PIN_2)==1)
			{
				millisec+=2000;
				HAL_Delay(300);
			}
		}
		else if(j==15)
		{
			if(HAL_GPIO_ReadPin(GPIOE,GPIO_PIN_2)==1)
			{
				point++;
				pressed=1;
				/*char tmp[100];
				sprintf(tmp, "\n\rpoint = %d", point);
				while(__HAL_UART_GET_FLAG(&huart3, UART_FLAG_TC)==RESET){}
				HAL_UART_Transmit(&huart3, (uint8_t *) tmp, strlen(tmp), 100);
				HAL_Delay(200);*/

				break;
			}
			else if(
			HAL_GPIO_ReadPin(GPIOB,GPIO_PIN_3)==1 ||
			HAL_GPIO_ReadPin(GPIOB,GPIO_PIN_5)==1 ||
			HAL_GPIO_ReadPin(GPIOC,GPIO_PIN_7)==1 ||
			HAL_GPIO_ReadPin(GPIOA,GPIO_PIN_15)==1 ||
			HAL_GPIO_ReadPin(GPIOB,GPIO_PIN_12)==1 ||
			HAL_GPIO_ReadPin(GPIOB,GPIO_PIN_13)==1 ||
			HAL_GPIO_ReadPin(GPIOB,GPIO_PIN_15)==1 ||
			HAL_GPIO_ReadPin(GPIOC,GPIO_PIN_6)==1 ||
			HAL_GPIO_ReadPin(GPIOB,GPIO_PIN_11)==1 ||
			HAL_GPIO_ReadPin(GPIOB,GPIO_PIN_10)==1 ||
			HAL_GPIO_ReadPin(GPIOE,GPIO_PIN_15)==1 ||
			HAL_GPIO_ReadPin(GPIOE,GPIO_PIN_14)==1 ||
			HAL_GPIO_ReadPin(GPIOE,GPIO_PIN_0)==1 ||
			HAL_GPIO_ReadPin(GPIOB,GPIO_PIN_0)==1 ||
			HAL_GPIO_ReadPin(GPIOA,GPIO_PIN_0)==1)
			{
				millisec+=2000;
				HAL_Delay(300);
			}
		}
	}
}

void delay(uint32_t time)
{
	millisec=0;
			while(1)
			{
				if(millisec>time)
				{
					break;
				}
			}
}
void displayTime (uint32_t num )
{
	  char temp[50];
	  sprintf(temp,"\r%d",(num/1000)%60);
	//  sprintf(temp,"\r%d : %d",num/60000,(num/1000)%60);
		while (__HAL_UART_GET_FLAG(&huart3,UART_FLAG_TC)==RESET){}
		HAL_UART_Transmit(&huart3, (uint8_t*)temp, strlen(temp),1000);
	//  HAL_Delay(400);

}
void initWSLED(void)
{
	led_init();
	led_set_color_all(0x0F, 0x0F, 0x0F);
	led_display();
}
uint8_t randomNumber(uint8_t lower, uint8_t upper)
{
	return (HAL_RNG_GetRandomNumber(&hrng)% ((upper - lower + 1)) + lower);
}
void randomColor(void)
{
	uint16_t i;
	uint8_t color_r, color_g, color_b;
	for (i=0;i < 16; i++) {
		color_r = randomNumber(0, 255);
		color_g = randomNumber(0, 255);
		color_b = randomNumber(0, 255);
		led_set_color(i, color_r, color_g, color_b);
	}
	led_display();
	HAL_Delay(100);
}
void setRandomColor(uint8_t index)
{
	uint8_t color_r, color_g, color_b;
		color_r = randomNumber(0, 255);
		color_g = randomNumber(0, 255);
		color_b = randomNumber(0, 255);
		led_set_color(index, color_r, color_g, color_b);
	  led_display();
	  HAL_Delay(500);
}
void closeLED(void)
{
	led_set_color_all(0, 0, 0);
	led_display();
}
void setCloseLED(uint8_t index)
{
	led_set_color(index, 0,0,0);
	led_display();
}

void colorsMatching()
{
	HAL_UART_Transmit(&huart3, (unsigned char*)"\n\rStart!",10, 100);
	char tempPrint[50];

	uint8_t tempRGB[16][3],tempWrite[16][3];
	int sw[16]={0,0,0,0,0,0,0,0,0,0,0,0,0,0,0,0};

	int rann=0;
  uint8_t tempRandom[16]={0,0,0,0,0,0,0,0,0,0,0,0,0,0,0,0};

	int pair[8]={0,0,0,0,0,0,0,0};
	uint8_t p1[2]={0,0},p2[2]={0,0},p3[2]={0,0},p4[2]={0,0},p5[2]={0,0},p6[2]={0,0},p7[2]={0,0},p8[2]={0,0};

	int checkStart =0;
	int checkClose=0;
	int checkPress=0;

	//set color
	for(uint8_t i=0;i<16;i++)
		{
			for(uint8_t j=0;i<2;i++){tempRGB[i][0]=255;tempRGB[i][1]=0;tempRGB[i][2]=0;}       //red 255 0 0
			for(uint8_t j=2;i<4;i++){tempRGB[i][0]=0;tempRGB[i][1]=255;tempRGB[i][2]=0;}       //green 0 255 0
			for(uint8_t j=4;i<6;i++){tempRGB[i][0]=0;tempRGB[i][1]=0;tempRGB[i][2]=255;}       //blue 0 0 255
		  for(uint8_t j=6;i<8;i++){tempRGB[i][0]=255;tempRGB[i][1]=255;tempRGB[i][2]=0;}     //yellow 255 255 0
			for(uint8_t j=8;i<10;i++){tempRGB[i][0]=255;tempRGB[i][1]=0;tempRGB[i][2]=255;}    //pink 255 0 255
			for(uint8_t j=10;i<12;i++){tempRGB[i][0]=255;tempRGB[i][1]=50;tempRGB[i][2]=0;}   //orenge 255 128 0
			for(uint8_t j=12;i<14;i++){tempRGB[i][0]=0;tempRGB[i][1]=255;tempRGB[i][2]=255;} //sky blue 153 255 255
			for(uint8_t j=14;i<16;i++){tempRGB[i][0]=255;tempRGB[i][1]=255;tempRGB[i][2]=255;} //white 255 255 255
		}
	//wait...
	for(uint8_t i=0;i<10;i++)
	{
		randomColor();
	}

	//start...
  while(checkStart==0)
	{
		if(checkClose==1)
		{
			checkStart=1;
			break;
		}
		//random 0-15
		for (uint8_t i=0;i<16;i++)
			{
					tempRandom[i]=0;
			}
			for (uint8_t i=0;i<16;i++)
			{
				do{
	        rann = randomNumber(0,15);
	        if(tempRandom[rann]==0)
	         {
	            tempRandom[rann]=i;
	            break;
	         }
					}while(1);
			}
		// get value for random index
		 for (uint8_t i=0;i<16;i++)
			{
				tempWrite[i][0]=tempRGB[tempRandom[i]][0];
				tempWrite[i][1]=tempRGB[tempRandom[i]][1];
				tempWrite[i][2]=tempRGB[tempRandom[i]][2];
			}
		// check pair
		for(uint8_t i=0;i<16;i++)
				{
					if(tempRandom[i]==0){p1[0]=i;}
					else if (tempRandom[i]==1){p1[1]=i;}
					else if (tempRandom[i]==2){p2[0]=i;}
					else if (tempRandom[i]==3){p2[1]=i;}
					else if (tempRandom[i]==4){p3[0]=i;}
					else if (tempRandom[i]==5){p3[1]=i;}
					else if (tempRandom[i]==6){p4[0]=i;}
					else if (tempRandom[i]==7){p4[1]=i;}
					else if (tempRandom[i]==8){p5[0]=i;}
					else if (tempRandom[i]==9){p5[1]=i;}
					else if (tempRandom[i]==10){p6[0]=i;}
					else if (tempRandom[i]==11){p6[1]=i;}
					else if (tempRandom[i]==12){p7[0]=i;}
					else if (tempRandom[i]==13){p7[1]=i;}
					else if (tempRandom[i]==14){p8[0]=i;}
				  else if (tempRandom[i]==15){p8[1]=i;}
				}
		//Remember...
		for(uint8_t i=0;i<16;i++)
				{
					led_set_color(i,tempWrite[i][0],tempWrite[i][1],tempWrite[i][2]);
					led_display();
				}
		while(checkClose==0)
		{
			delay(3500);

			closeLED();	//LED close --> you play
			millisec=0;
			while(1)
			{
				displayTime(millisec);
				if(millisec>40000&&score==0) // 1 round 40 s
				{
					led_set_color_all(255,0,0);
					led_display();
					HAL_UART_Transmit(&huart3, (uint8_t*)"\r\n->TIME OUT",12,1000);
					HAL_Delay(3000);
					score=0;
					checkClose =1; // if user press "play again" else LED read
					checkStart=1;
					checkTimeOut=1;
					break;
				}
				else if(millisec>35000&&score==1) // 2 round 35 s
				{
					led_set_color_all(255,0,0);
					led_display();
					HAL_UART_Transmit(&huart3, (uint8_t*)"\r\n->TIME OUT",12,1000);
					HAL_Delay(3000);
					score=0;
					checkClose =1;// if user press "play again" else LED read
					break;
				}
				else if(millisec>30000&&score==2) // 3 round 30 s
				{
					led_set_color_all(255,0,0);
					led_display();
					HAL_UART_Transmit(&huart3, (uint8_t*)"\r\n->TIME OUT",12,1000);
					HAL_Delay(3000);
					score=0;
					checkClose =1;// if user press "play again" else LED read
					break;
				}
				else if(millisec>25000&&score>2) // 4 round 15 s
				{
					led_set_color_all(255,0,0);
					led_display();
					HAL_UART_Transmit(&huart3, (uint8_t*)"\r\n->TIME OUT",12,1000);
					HAL_Delay(3000);
					score=0;
					checkClose =1;// if user press "play again" else LED read
					break;
				}

				//  HAL_UART_Transmit(&huart3, (uint8_t*)"\n->play", 7,1000);
				    if(HAL_GPIO_ReadPin(GPIOB, GPIO_PIN_3)==1)//0
						{
							sw[0]=1;
							led_set_color(0,tempWrite[0][0],tempWrite[0][1],tempWrite[0][2]);
						}
						else if (HAL_GPIO_ReadPin(GPIOB, GPIO_PIN_5)==1)	//1
						{
							sw[1]=1;
							led_set_color(1,tempWrite[1][0],tempWrite[1][1],tempWrite[1][2]);
						}
						else if (HAL_GPIO_ReadPin(GPIOC, GPIO_PIN_7)==1)//2
						{
							sw[2]=1;
							led_set_color(2,tempWrite[2][0],tempWrite[2][1],tempWrite[2][2]);
						}
						else if (HAL_GPIO_ReadPin(GPIOA, GPIO_PIN_15)==1)//3
						{
							sw[3]=1;
							led_set_color(3,tempWrite[3][0],tempWrite[3][1],tempWrite[3][2]);
						}
						else if (HAL_GPIO_ReadPin(GPIOB, GPIO_PIN_12)==1)//4
						{
							sw[4]=1;
							led_set_color(4,tempWrite[4][0],tempWrite[4][1],tempWrite[4][2]);
						}
						else if (HAL_GPIO_ReadPin(GPIOB, GPIO_PIN_13)==1)//5
						{
							sw[5]=1;
							led_set_color(5,tempWrite[5][0],tempWrite[5][1],tempWrite[5][2]);
						}
						else if (HAL_GPIO_ReadPin(GPIOB, GPIO_PIN_15)==1)//6
						{
							sw[6]=1;
							led_set_color(6,tempWrite[6][0],tempWrite[6][1],tempWrite[6][2]);
						}
						else if (HAL_GPIO_ReadPin(GPIOC, GPIO_PIN_6)==1)//7
						{
							sw[7]=1;
							led_set_color(7,tempWrite[7][0],tempWrite[7][1],tempWrite[7][2]);
						}
				 	  else if(HAL_GPIO_ReadPin(GPIOB, GPIO_PIN_11)==1)//8
						{
							sw[8]=1;
							led_set_color(8,tempWrite[8][0],tempWrite[8][1],tempWrite[8][2]);
						}
						else if (HAL_GPIO_ReadPin(GPIOB, GPIO_PIN_10)==1)	//9
						{
							sw[9]=1;
							led_set_color(9,tempWrite[9][0],tempWrite[9][1],tempWrite[9][2]);
						}
						else if (HAL_GPIO_ReadPin(GPIOE, GPIO_PIN_15)==1)//10
						{
							sw[10]=1;
							led_set_color(10,tempWrite[10][0],tempWrite[10][1],tempWrite[10][2]);
						}
						else if (HAL_GPIO_ReadPin(GPIOE, GPIO_PIN_14)==1)//11
						{
							sw[11]=1;
							led_set_color(11,tempWrite[11][0],tempWrite[11][1],tempWrite[11][2]);
						}
						else if (HAL_GPIO_ReadPin(GPIOE, GPIO_PIN_0)==1)//12
						{
							sw[12]=1;
							led_set_color(12,tempWrite[12][0],tempWrite[12][1],tempWrite[12][2]);
						}
						else if (HAL_GPIO_ReadPin(GPIOB, GPIO_PIN_0)==1)//13
						{
							sw[13]=1;
							led_set_color(13,tempWrite[13][0],tempWrite[13][1],tempWrite[13][2]);
						}
						else if (HAL_GPIO_ReadPin(GPIOA, GPIO_PIN_0)==1)//14
						{
							sw[14]=1;
							led_set_color(14,tempWrite[14][0],tempWrite[14][1],tempWrite[14][2]);
						}
						else if (HAL_GPIO_ReadPin(GPIOE, GPIO_PIN_2)==1)//15
						{
							sw[15]=1;
							led_set_color(15,tempWrite[15][0],tempWrite[15][1],tempWrite[15][2]);
						}

				  countTimePress=0;
				  while(sw[0]==1||sw[1]==1||sw[2]==1||sw[3]==1||sw[4]==1||sw[5]==1||sw[6]==1||sw[7]==1||
						sw[8]==1||sw[9]==1||sw[10]==1||sw[11]==1||sw[12]==1||sw[13]==1||sw[14]==1||sw[15]==1)
					{
					//	HAL_UART_Transmit(&huart3, (uint8_t*)"\n->Time...", 10,1000);
						if(countTimePress>300)
						{
								closeLED();
					      for(uint8_t i=0;i<16;i++)
							{
								sw[i]=0;
							}
							break;
						}
						 if(HAL_GPIO_ReadPin(GPIOB, GPIO_PIN_3)==1)//0
						{
							sw[0]=1;
							led_set_color(0,tempWrite[0][0],tempWrite[0][1],tempWrite[0][2]);
						}
						else if (HAL_GPIO_ReadPin(GPIOB, GPIO_PIN_5)==1)	//1
						{
							sw[1]=1;
							led_set_color(1,tempWrite[1][0],tempWrite[1][1],tempWrite[1][2]);
						}
						else if (HAL_GPIO_ReadPin(GPIOC, GPIO_PIN_7)==1)//2
						{
							sw[2]=1;
							led_set_color(2,tempWrite[2][0],tempWrite[2][1],tempWrite[2][2]);
						}
						else if (HAL_GPIO_ReadPin(GPIOA, GPIO_PIN_15)==1)//3
						{
							sw[3]=1;
							led_set_color(3,tempWrite[3][0],tempWrite[3][1],tempWrite[3][2]);
						}
						else if (HAL_GPIO_ReadPin(GPIOB, GPIO_PIN_12)==1)//4
						{
							sw[4]=1;
							led_set_color(4,tempWrite[4][0],tempWrite[4][1],tempWrite[4][2]);
						}
						else if (HAL_GPIO_ReadPin(GPIOB, GPIO_PIN_13)==1)//5
						{
							sw[5]=1;
							led_set_color(5,tempWrite[5][0],tempWrite[5][1],tempWrite[5][2]);
						}
						else if (HAL_GPIO_ReadPin(GPIOB, GPIO_PIN_15)==1)//6
						{
							sw[6]=1;
							led_set_color(6,tempWrite[6][0],tempWrite[6][1],tempWrite[6][2]);
						}
						else if (HAL_GPIO_ReadPin(GPIOC, GPIO_PIN_6)==1)//7
						{
							sw[7]=1;
							led_set_color(7,tempWrite[7][0],tempWrite[7][1],tempWrite[7][2]);
						}
				 	  else if(HAL_GPIO_ReadPin(GPIOB, GPIO_PIN_11)==1)//8
						{
							sw[8]=1;
							led_set_color(8,tempWrite[8][0],tempWrite[8][1],tempWrite[8][2]);
						}
						else if (HAL_GPIO_ReadPin(GPIOB, GPIO_PIN_10)==1)	//9
						{
							sw[9]=1;
							led_set_color(9,tempWrite[9][0],tempWrite[9][1],tempWrite[9][2]);
						}
						else if (HAL_GPIO_ReadPin(GPIOE, GPIO_PIN_15)==1)//10
						{
							sw[10]=1;
							led_set_color(10,tempWrite[10][0],tempWrite[10][1],tempWrite[10][2]);
						}
						else if (HAL_GPIO_ReadPin(GPIOE, GPIO_PIN_14)==1)//11
						{
							sw[11]=1;
							led_set_color(11,tempWrite[11][0],tempWrite[11][1],tempWrite[11][2]);
						}
						else if (HAL_GPIO_ReadPin(GPIOE, GPIO_PIN_0)==1)//12
						{
							sw[12]=1;
							led_set_color(12,tempWrite[12][0],tempWrite[12][1],tempWrite[12][2]);
						}
						else if (HAL_GPIO_ReadPin(GPIOB, GPIO_PIN_0)==1)//13
						{
							sw[13]=1;
							led_set_color(13,tempWrite[13][0],tempWrite[13][1],tempWrite[13][2]);
						}
						else if (HAL_GPIO_ReadPin(GPIOA, GPIO_PIN_0)==1)//14
						{
							sw[14]=1;
							led_set_color(14,tempWrite[14][0],tempWrite[14][1],tempWrite[14][2]);
						}
						else if (HAL_GPIO_ReadPin(GPIOE, GPIO_PIN_2)==1)//15
						{
							sw[15]=1;
							led_set_color(15,tempWrite[15][0],tempWrite[15][1],tempWrite[15][2]);
						}
						led_display();
					// check press true
						if(sw[p1[0]]==1&&sw[p1[1]]){pair[0]=1;break;}
						if(sw[p2[0]]==1&&sw[p2[1]]){pair[1]=1;break;}
						if(sw[p3[0]]==1&&sw[p3[1]]){pair[2]=1;break;}
						if(sw[p4[0]]==1&&sw[p4[1]]){pair[3]=1;break;}
						if(sw[p5[0]]==1&&sw[p5[1]]){pair[4]=1;break;}
						if(sw[p6[0]]==1&&sw[p6[1]]){pair[5]=1;break;}
						if(sw[p7[0]]==1&&sw[p7[1]]){pair[6]=1;break;}
						if(sw[p8[0]]==1&&sw[p8[1]]){pair[7]=1;break;}

	         // sprintf(tempPrint,"\r%d %d %d %d %d %d %d %d ",sw[0],sw[1],sw[2],sw[3],sw[4],sw[5],sw[6],sw[7]);
	   	     // HAL_UART_Transmit(&huart3, (uint8_t*)tempPrint, strlen(tempPrint),1000);

					}//while press :time 1 s

	        /*  sprintf(tempPrint,"\r%d %d %d %d %d %d %d %d ",pair[0],pair[1],pair[2],pair[3],pair[4],pair[5],pair[6],pair[7]);
	   	      HAL_UART_Transmit(&huart3, (uint8_t*)tempPrint, strlen(tempPrint),1000);
					  HAL_UART_Transmit(&huart3, (uint8_t*)"\n", 2,1000);*/
					  //displayTime(millisec);
					//reset switch
						for(uint8_t i=0;i<16;i++)
						{
							sw[i]=0;
						}

					// 1 round
		    	if(pair[0]==1&&pair[1]==1&&pair[2]==1&&pair[3]==1&&pair[4]==1&&pair[5]==1&&pair[6]==1&&pair[7]==1)
					{
						score++;
						int rgb = sprintf(tempPrint, "\r\nscore: %d ",score);//0
						HAL_UART_Transmit(&huart3, (unsigned char*) tempPrint, rgb, 100);
						pair[0]=0;pair[1]=0;pair[2]=0;pair[3]=0;
						HAL_Delay(100);
						checkClose =1;// if user press "play again" else LED read
						break;
					}
					//set LED : When --> True pair
					if(pair[0]==1||pair[1]==1||pair[2]==1||pair[3]==1||pair[4]==1||pair[5]==1||pair[6]==1||pair[7]==1)
					{
						if (pair[0]==1)
						{
								led_set_color(p1[0],tempWrite[p1[0]][0],tempWrite[p1[0]][1],tempWrite[p1[0]][2]);
						   	led_set_color(p1[1],tempWrite[p1[1]][0],tempWrite[p1[1]][1],tempWrite[p1[1]][2]);
						  	led_display();
						}
						if (pair[1]==1)
						{
								led_set_color(p2[0],tempWrite[p2[0]][0],tempWrite[p2[0]][1],tempWrite[p2[0]][2]);
						   	led_set_color(p2[1],tempWrite[p2[1]][0],tempWrite[p2[1]][1],tempWrite[p2[1]][2]);
						  	led_display();
						}
						if (pair[2]==1)
						{
								led_set_color(p3[0],tempWrite[p3[0]][0],tempWrite[p3[0]][1],tempWrite[p3[0]][2]);
						   	led_set_color(p3[1],tempWrite[p3[1]][0],tempWrite[p3[1]][1],tempWrite[p3[1]][2]);
						  	led_display();
						}
						if (pair[3]==1)
						{
								led_set_color(p4[0],tempWrite[p4[0]][0],tempWrite[p4[0]][1],tempWrite[p4[0]][2]);
						   	led_set_color(p4[1],tempWrite[p4[1]][0],tempWrite[p4[1]][1],tempWrite[p4[1]][2]);
						  	led_display();
						}
						if (pair[4]==1)
						{
								led_set_color(p5[0],tempWrite[p5[0]][0],tempWrite[p5[0]][1],tempWrite[p5[0]][2]);
						   	led_set_color(p5[1],tempWrite[p5[1]][0],tempWrite[p5[1]][1],tempWrite[p5[1]][2]);
						  	led_display();
						}
						if (pair[5]==1)
						{
								led_set_color(p6[0],tempWrite[p6[0]][0],tempWrite[p6[0]][1],tempWrite[p6[0]][2]);
						   	led_set_color(p6[1],tempWrite[p6[1]][0],tempWrite[p6[1]][1],tempWrite[p6[1]][2]);
						  	led_display();
						}
						if (pair[6]==1)
						{
								led_set_color(p7[0],tempWrite[p7[0]][0],tempWrite[p7[0]][1],tempWrite[p7[0]][2]);
						   	led_set_color(p7[1],tempWrite[p7[1]][0],tempWrite[p7[1]][1],tempWrite[p7[1]][2]);
						  	led_display();
						}
						if (pair[7]==1)
						{
								led_set_color(p8[0],tempWrite[p8[0]][0],tempWrite[p8[0]][1],tempWrite[p8[0]][2]);
						   	led_set_color(p8[1],tempWrite[p8[1]][0],tempWrite[p8[1]][1],tempWrite[p8[1]][2]);
						  	led_display();
						}
					}

			}//while checkPress
		}//while checkClose
	}//while checkStart

}

uint16_t Mode1setAllColors(){

    red   = 0*255/100;
    green = 0*255/100;
    blue  = 90*255/100;

		led_set_color_all(red,green,blue);
		led_display();
}

/* USER CODE END 4 */

void Error_Handler(void)
{
}

/************************ (C) COPYRIGHT STMicroelectronics *****END OF FILE****/
